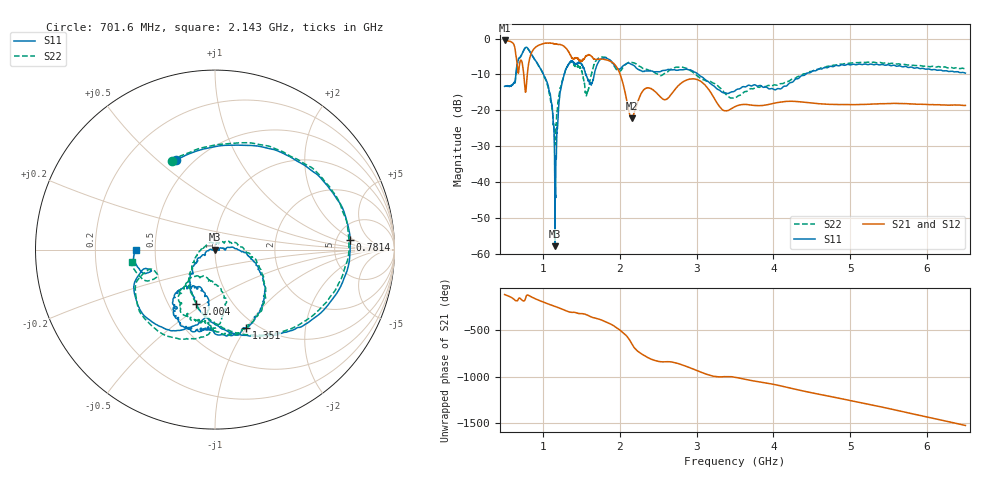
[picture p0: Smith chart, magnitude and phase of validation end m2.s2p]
# Hz S DB R 50
! CMT, S5065, 24347010, 24.3.4/3
! Date: 10/16/2024 1:06:15 AM
! Data: Format (Calibration Info)
! Freq	S11:dB/Ang(F2)	S21:dB/Ang(F2)	S12:dB/Ang(F2)	S22:dB/Ang(F2)
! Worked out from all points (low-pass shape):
!   10001 points, 500 MHz to 6.5 GHz, reference 50 ohm
!   highest |S21| = -0.54 dB at 500 MHz (marker M1); lowest = -22.2 dB at 2.158 GHz (marker M2)
!   |S21| within 3 dB of the highest: start of sweep to 640.4 MHz; 861.1 MHz to 1.327 GHz (466.1 MHz wide, 42.6 % of centre)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
!   lowest |S11| = -57.8 dB at 1.158 GHz (marker M3), VSWR 1.00, Z = 50 - j0.129 ohm
!   |S11| at or under -10 dB: start of sweep to 645.8 MHz; 1.006 GHz to 1.275 GHz (269.3 MHz wide, 23.6 % of centre); 3.023 GHz to 4.417 GHz (1.394 GHz wide, 37.5 % of centre)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
!   |S22| runs from -29.7 to -2.5 dB; largest |S21 - S12| = 0.0033
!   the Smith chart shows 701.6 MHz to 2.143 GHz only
!   S11 on the Smith chart (normalised r, x): 701.6 MHz: 0.41, +0.57; 781.4 MHz: 6.72, +1.75; 1.004 GHz: 0.69, -0.46; 1.351 GHz: 0.89, -0.99; 2.143 GHz: 0.39, +0.00
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5e8  -13.34 -30.6  -0.54 -123.2  -0.55 -123.2  -13.37 -33.0
6.416e8  -10.95 -99.0  -3.79 171.6  -3.79 171.6  -11.47 -107.3
7.016e8  -5.29 113.7  -6.41 -164.1  -6.41 -164.0  -5.18 115.9
7.814e8  -2.43 4.3  -13.69 -139.3  -13.68 -139.2  -2.51 8.2
8.582e8  -4.66 -54.5  -3.65 -152.3  -3.63 -152.4  -4.64 -51.9
1.004e9  -9.91 -108.8  -1.42 156.6  -1.42 156.6  -10.04 -110.0
1.0982e9  -16.24 -142.4  -1.31 127.1  -1.31 127.2  -17.31 -148.2
1.1582e9  -57.82 -89.8  -1.50 109.7  -1.50 109.6  -27.89 70.1
1.2356e9  -13.71 -14.5  -1.79 85.6  -1.78 85.6  -13.00 -13.0
1.3514e9  -6.60 -68.5  -4.42 49.0  -4.40 49.1  -6.76 -66.3
1.5002e9  -7.19 -118.0  -6.19 32.9  -6.18 32.8  -8.98 -122.2
1.6352e9  -12.33 -108.8  -5.03 -5.2  -5.03 -5.2  -9.45 -80.0
1.8734e9  -6.01 -154.7  -6.32 -75.6  -6.31 -75.7  -6.10 -153.9
2.0024e9  -8.48 -161.2  -9.86 -143.6  -9.85 -143.7  -9.10 -155.6
2.1434e9  -7.11 180.0  -22.00 88.7  -22.01 88.8  -6.60 -171.7
2.1578e9  -7.26 176.8  -22.20 66.4  -22.22 66.4  -6.66 -175.0
2.5004e9  -9.27 158.9  -15.64 -116.6  -15.64 -117.1  -10.01 155.0
2.9768e9  -9.39 111.6  -11.27 153.8  -11.26 153.2  -9.90 109.7
3.5e9  -14.58 112.5  -18.98 73.4  -18.98 72.7  -16.56 109.6
4.5002e9  -9.17 90.6  -17.98 -92.9  -17.99 -93.9  -9.18 91.6
5.5004e9  -7.35 11.2  -18.11 99.2  -18.16 98.3  -6.97 10.1
6.5e9  -9.63 -65.3  -18.63 -81.9  -18.68 -80.9  -8.48 -65.9
